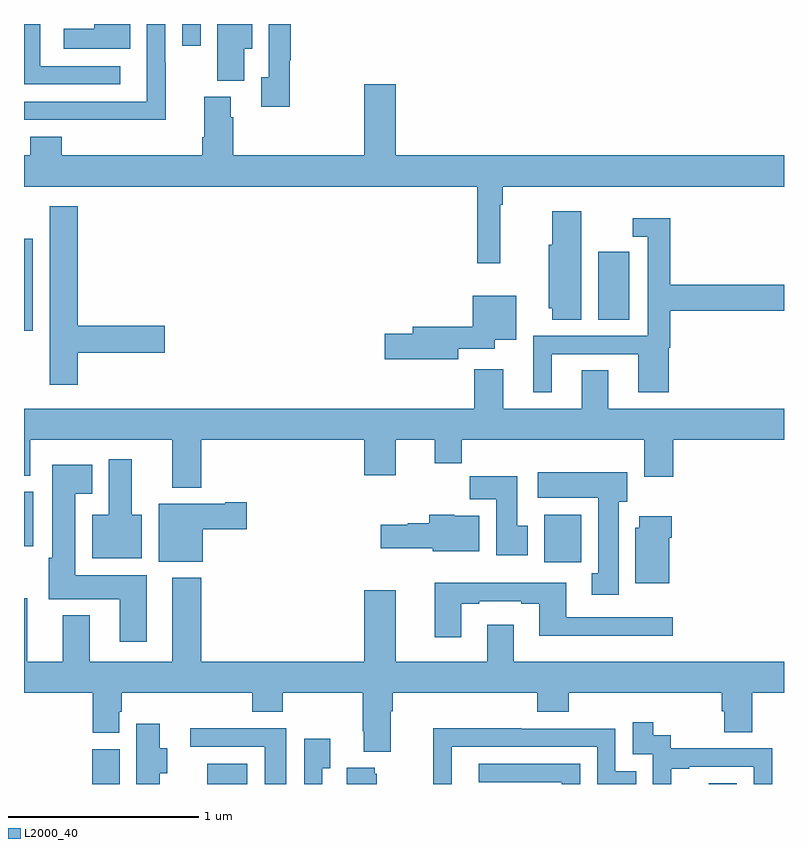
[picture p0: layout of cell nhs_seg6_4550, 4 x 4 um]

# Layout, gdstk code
import gdstk
lib = gdstk.Library(unit=1e-6, precision=1e-09)
def R(c, l, rs):  # rectangles x0, y0, x1, y1
    for r in rs: c.add(gdstk.rectangle(r[:2], r[2:], *l))
def P(c, l, *ps):  # polygons
    for p in ps: c.add(gdstk.Polygon(p, *l))
L2000_40 = (2000, 40)

nhs_seg6_4550 = lib.new_cell('nhs_seg6_4550')
R(nhs_seg6_4550, L2000_40, [(379.358,969.5,379.504,969.684), (379.964,969.5,380.176,969.607), (382.605,969.5,382.752,969.505), (381.737,970.668,381.933,970.918), (379,970.752,379.048,971.038), (379,971.886,379.047,972.369), (382.022,971.944,382.186,972.301), (379.833,973.386,379.929,973.5)])
P(nhs_seg6_4550, L2000_40, [(379.745,973.298),(379.743,973.298),(379.743,973.5),(379.647,973.5),(379.647,973.092),(379,973.092),(379,972.996),(379.282,972.996),(379.282,972.995),(379.745,972.995)],
  [(379.507,973.278),(379.086,973.278),(379.086,973.5),(379,973.5),(379,973.182),(379.507,973.182)],
  [(380.398,973.309),(380.405,973.309),(380.405,973.5),(380.289,973.5),(380.289,973.221),(380.249,973.221),(380.249,973.065),(380.398,973.065)],
  [(379.558,973.5),(379.371,973.5),(379.371,973.474),(379.209,973.474),(379.209,973.37),(379.558,973.37)],
  [(380.158,973.37),(380.2,973.37),(380.2,973.5),(380.018,973.5),(380.018,973.201),(380.158,973.201)],
  [(381.506,972.548),(381.521,972.548),(381.521,972.644),(383,972.644),(383,972.808),(380.956,972.808),(380.956,973.183),(380.792,973.183),(380.792,972.808),(380.102,972.808),(380.102,973.01),(380.089,973.01),(380.089,973.116),(379.949,973.116),(379.949,972.904),(379.937,972.904),(379.937,972.808),(379.199,972.808),(379.199,972.907),(379.034,972.907),(379.034,972.808),(379,972.808),(379,972.644),(381.385,972.644),(381.385,972.24),(381.506,972.24)],
  [(379.283,971.77),(379.741,971.77),(379.741,971.912),(379.283,971.912),(379.283,972.541),(379.136,972.541),(379.136,971.601),(379.283,971.601)],
  [(381.934,972.514),(381.779,972.514),(381.779,972.339),(381.761,972.339),(381.761,972.003),(381.779,972.003),(381.779,971.944),(381.934,971.944)],
  [(381.778,971.763),(382.232,971.763),(382.232,971.562),(382.394,971.562),(382.394,971.795),(382.4,971.795),(382.4,971.992),(383,971.992),(383,972.128),(382.4,972.128),(382.4,972.478),(382.203,972.478),(382.203,972.381),(382.284,972.381),(382.284,971.859),(381.68,971.859),(381.68,971.562),(381.778,971.562)],
  [(381.286,971.79),(381.478,971.79),(381.478,971.837),(381.592,971.837),(381.592,972.07),(381.362,972.07),(381.362,971.906),(381.047,971.906),(381.047,971.87),(380.898,971.87),(380.898,971.735),(381.286,971.735)],
  [(379.934,971.312),(380.792,971.312),(380.792,971.124),(380.956,971.124),(380.956,971.312),(381.161,971.312),(381.161,971.188),(381.305,971.188),(381.305,971.312),(382.265,971.312),(382.265,971.118),(382.418,971.118),(382.418,971.312),(383,971.312),(383,971.476),(382.075,971.476),(382.075,971.678),(381.935,971.678),(381.935,971.476),(381.523,971.476),(381.523,971.683),(381.371,971.683),(381.371,971.476),(379,971.476),(379,971.123),(379.033,971.123),(379.033,971.312),(379.781,971.312),(379.781,971.06),(379.934,971.06)],
  [(379.621,970.918),(379.567,970.918),(379.567,971.209),(379.445,971.209),(379.445,970.918),(379.358,970.918),(379.358,970.688),(379.621,970.688)],
  [(379.645,970.6),(379.27,970.6),(379.27,971.027),(379.36,971.027),(379.36,971.179),(379.148,971.179),(379.148,970.69),(379.13,970.69),(379.13,970.472),(379.505,970.472),(379.505,970.248),(379.645,970.248)],
  [(382.129,970.986),(382.174,970.986),(382.174,971.14),(381.705,971.14),(381.705,971.006),(382.022,971.006),(382.022,970.609),(381.989,970.609),(381.989,970.497),(382.129,970.497)],
  [(381.652,970.86),(381.595,970.86),(381.595,971.119),(381.346,971.119),(381.346,971),(381.485,971),(381.485,970.704),(381.652,970.704)],
  [(379.942,970.841),(380.173,970.841),(380.173,970.983),(380.06,970.983),(380.06,970.975),(379.709,970.975),(379.709,970.67),(379.942,970.67)],
  [(381.397,970.912),(381.264,970.912),(381.264,970.918),(381.134,970.918),(381.134,970.872),(381.02,970.872),(381.02,970.864),(380.877,970.864),(380.877,970.742),(381.15,970.742),(381.15,970.724),(381.397,970.724)],
  [(382.396,970.796),(382.409,970.796),(382.409,970.909),(382.238,970.909),(382.238,970.848),(382.217,970.848),(382.217,970.556),(382.396,970.556)],
  [(380.929,969.884),(380.942,969.884),(380.942,969.98),(381.701,969.98),(381.701,969.881),(381.866,969.881),(381.866,969.98),(382.673,969.98),(382.673,969.882),(382.685,969.882),(382.685,969.772),(382.833,969.772),(382.833,969.98),(383,969.98),(383,970.144),(381.577,970.144),(381.577,970.339),(381.437,970.339),(381.437,970.144),(380.956,970.144),(380.956,970.519),(380.792,970.519),(380.792,970.144),(379.934,970.144),(379.934,970.585),(379.781,970.585),(379.781,970.144),(379.345,970.144),(379.345,970.387),(379.205,970.387),(379.205,970.144),(379.016,970.144),(379.016,970.477),(379,970.477),(379,969.98),(379.361,969.98),(379.361,969.769),(379.501,969.769),(379.501,969.879),(379.514,969.879),(379.514,969.98),(380.201,969.98),(380.201,969.881),(380.361,969.881),(380.361,969.98),(380.782,969.98),(380.782,969.778),(380.789,969.778),(380.789,969.671),(380.929,969.671)],
  [(381.301,970.449),(381.397,970.449),(381.397,970.461),(381.617,970.461),(381.617,970.449),(381.713,970.449),(381.713,970.28),(382.414,970.28),(382.414,970.377),(381.853,970.377),(381.853,970.558),(381.161,970.558),(381.161,970.272),(381.301,970.272)],
  [(382.406,969.579),(382.501,969.579),(382.501,969.591),(382.842,969.591),(382.842,969.5),(382.938,969.5),(382.938,969.687),(382.404,969.687),(382.404,969.756),(382.312,969.756),(382.312,969.826),(382.203,969.826),(382.203,969.657),(382.308,969.657),(382.308,969.5),(382.406,969.5)],
  [(379.714,969.557),(379.753,969.557),(379.753,969.687),(379.714,969.687),(379.714,969.817),(379.592,969.817),(379.592,969.5),(379.714,969.5)],
  [(380.38,969.794),(379.875,969.794),(379.875,969.696),(380.267,969.696),(380.267,969.5),(380.38,969.5)],
  [(381.252,969.696),(382.017,969.696),(382.017,969.5),(382.223,969.5),(382.223,969.567),(382.113,969.567),(382.113,969.792),(381.617,969.792),(381.617,969.794),(381.154,969.794),(381.154,969.5),(381.252,969.5)],
  [(380.571,969.583),(380.611,969.583),(380.611,969.739),(380.475,969.739),(380.475,969.5),(380.571,969.5)],
  [(381.927,969.606),(381.393,969.606),(381.393,969.51),(381.831,969.51),(381.831,969.5),(381.927,969.5)],
  [(380.857,969.555),(380.846,969.555),(380.846,969.586),(380.699,969.586),(380.699,969.5),(380.857,969.5)])

lib.write_gds('nhs_seg6_4550.gds')
